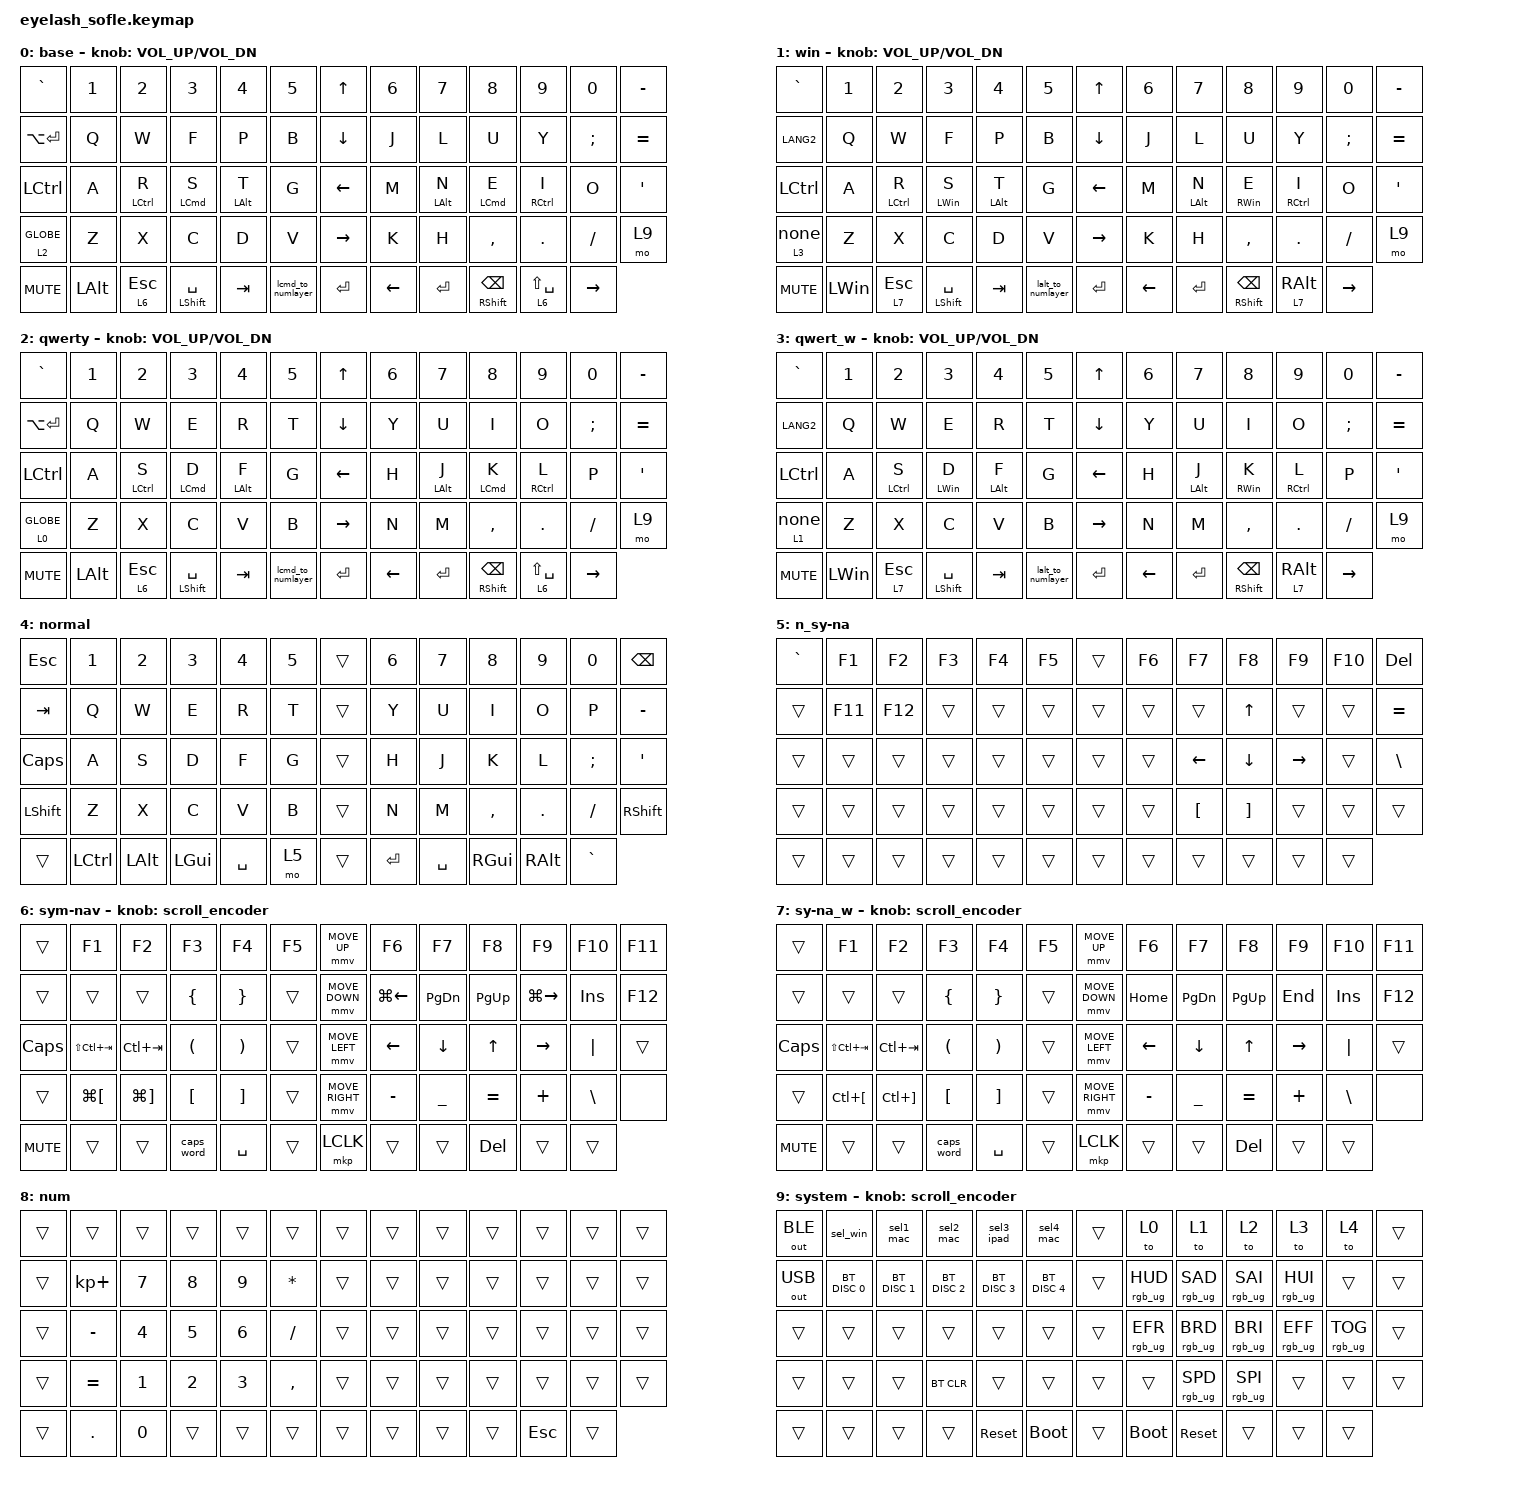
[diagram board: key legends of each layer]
#define ZMK_POINTING_DEFAULT_MOVE_VAL 1200  // 600
#define ZMK_POINTING_DEFAULT_SCRL_VAL 25   // 10

#include <input/processors.dtsi>
#include <zephyr/dt-bindings/input/input-event-codes.h>
#include <behaviors.dtsi>
#include <dt-bindings/zmk/bt.h>
#include <dt-bindings/zmk/keys.h>
#include <dt-bindings/zmk/outputs.h>
#include <dt-bindings/zmk/pointing.h>
#include <dt-bindings/zmk/rgb.h>

&mmv_input_listener { input-processors = <&zip_xy_scaler 2 1>; };

&msc_input_listener { input-processors = <&zip_scroll_scaler 2 1>; };

&msc {
    acceleration-exponent = <1>;      // 0
    time-to-max-speed-ms = <100>;       // 300
    delay-ms = <0>;                   // 0
};

&mmv {
    time-to-max-speed-ms = <500>;
    acceleration-exponent = <1>;
    trigger-period-ms = <16>;
};

&soft_off { hold-time-ms = <2000>; };

&lt {
    flavor = "balanced";
    tapping-term-ms = <180>;
};

&caps_word { continue-list = <UNDERSCORE BACKSPACE DELETE LEFT RIGHT>; };

/ {
    scroll_encoder: scroll_encoder {
        compatible = "zmk,behavior-sensor-rotate";
        #sensor-binding-cells = <0>;
        bindings = <&msc SCRL_DOWN>, <&msc SCRL_UP>;

        tap-ms = <100>;
    };

    hrml: home-row-mods-left {
        compatible = "zmk,behavior-hold-tap";
        label = "Home Row Mods Left";
        bindings = <&kp>, <&kp>;

        #binding-cells = <2>;
        tapping-term-ms = <250>;
        quick-tap-ms = <175>;
        require-prior-idle-ms = <130>;
        flavor = "balanced";
        hold-trigger-key-positions = <59 60 61 62 63 51 50 49 48 47 46 33 20 7 8 21 34 35 22 9 10 23 36 37 24 11 12 25 38>;
        hold-trigger-on-release;
    };

    hrmr: home-row-mods-right {
        compatible = "zmk,behavior-hold-tap";
        label = "Home Row Mods Right";
        bindings = <&kp>, <&kp>;

        #binding-cells = <2>;
        tapping-term-ms = <250>;
        quick-tap-ms = <175>;
        require-prior-idle-ms = <130>;
        flavor = "balanced";
        hold-trigger-on-release;
        hold-trigger-key-positions = <57 56 55 54 53 39 40 41 42 43 44 0 1 2 3 4 5 13 14 15 16 17 18 26 27 28 29 30 31>;
    };

    lshft_mt: lshft_mt {
        compatible = "zmk,behavior-hold-tap";
        label = "LSHFT_MT";
        bindings = <&kp>, <&kp>;

        #binding-cells = <2>;
        tapping-term-ms = <165>;
        flavor = "balanced";
        hold-trigger-key-positions = <59 60 61 62 63 46 47 48 51 50 49 35 37 36 34 33 20 21 22 23 24 11 10 9 8 7 38 25 12>;
    };

    rshft_mt: rshft_mt {
        compatible = "zmk,behavior-hold-tap";
        label = "RSHFT_MT";
        bindings = <&kp>, <&kp>;

        #binding-cells = <2>;
        tapping-term-ms = <165>;
        quick-tap-ms = <165>;
        flavor = "hold-preferred";
        hold-trigger-key-positions = <55 56 57 54 53 39 41 42 26 29 31 44 43 30 27 28 40 13 0 2 4 5 18 17 3 16 15 14 1>;
    };

    lcmd_to_numlayer: lcmd_to_numlayer {
        compatible = "zmk,behavior-mod-morph";
        label = "LCMD_TO_NUMLAYER";
        bindings = <&sk LCMD>, <&tog 8>;

        #binding-cells = <0>;
        mods = <(MOD_LGUI)>;
    };

    lalt_to_numlayer: lalt_to_numlayer {
        compatible = "zmk,behavior-mod-morph";
        label = "LALT_TO_NUMLAYER";
        bindings = <&sk LALT>, <&tog 8>;

        #binding-cells = <0>;
        mods = <(MOD_LALT)>;
    };

    tolayer_tap: tolayer_tap {
        compatible = "zmk,behavior-hold-tap";
        label = "TOLAYER_TAP";
        bindings = <&to>, <&kp>;

        #binding-cells = <2>;
        tapping-term-ms = <200>;
        flavor = "balanced";
    };

    tolayer_on_hold: tolayer_on_hold {
        compatible = "zmk,behavior-hold-tap";
        label = "TOLAYER_ON_HOLD";
        bindings = <&to>, <&none>;

        #binding-cells = <2>;
        tapping-term-ms = <200>;
        flavor = "balanced";
    };

    behaviors {
    };

    combos {
        compatible = "zmk,combos";

        cut {
            bindings = <&kp LG(X)>;
            key-positions = <41 42>;
            layers = <0 2>;
            require-prior-idle-ms = <130>;
            timeout-ms = <40>;
        };

        copy {
            bindings = <&kp LG(C)>;
            key-positions = <42 43>;
            layers = <0 2>;
            require-prior-idle-ms = <130>;
            timeout-ms = <40>;
        };

        paste {
            bindings = <&kp LG(V)>;
            key-positions = <43 44>;
            layers = <0 2>;
            require-prior-idle-ms = <130>;
            timeout-ms = <40>;
        };

        save {
            bindings = <&kp LG(S)>;
            key-positions = <28 29 30>;
            layers = <0 2>;
            require-prior-idle-ms = <130>;
            timeout-ms = <40>;
        };

        find {
            bindings = <&kp LG(F)>;
            key-positions = <16 17>;
            layers = <0 2>;
            require-prior-idle-ms = <130>;
            timeout-ms = <40>;
        };

        cut_win {
            bindings = <&kp LC(X)>;
            key-positions = <41 42>;
            layers = <1 3>;
            require-prior-idle-ms = <130>;
            timeout-ms = <40>;
        };

        copy_win {
            bindings = <&kp LC(C)>;
            key-positions = <42 43>;
            layers = <1 3>;
            require-prior-idle-ms = <130>;
            timeout-ms = <40>;
        };

        paste_win {
            bindings = <&kp LC(V)>;
            key-positions = <43 44>;
            layers = <1 3>;
            require-prior-idle-ms = <130>;
            timeout-ms = <40>;
        };

        soft_off {
            bindings = <&soft_off>;
            key-positions = <39 57>;
            layers = <0 2 1 3 4>;
        };
    };

    macros {
        sel_win: sel_win {
            compatible = "zmk,behavior-macro";
            #binding-cells = <0>;
            bindings =
                <&macro_tap_time 250>,
                <&bt BT_SEL 0 &bt BT_DISC 3 &to 1>;

            label = "SEL_WIN";
        };

        sel1_mac: sel1_mac {
            compatible = "zmk,behavior-macro";
            #binding-cells = <0>;
            bindings =
                <&macro_tap_time 250>,
                <&bt BT_SEL 1 &bt BT_DISC 3 &to 0>;

            label = "SEL1_MAC";
        };

        sel2_mac: sel2_mac {
            compatible = "zmk,behavior-macro";
            #binding-cells = <0>;
            bindings =
                <&macro_tap_time 250>,
                <&bt BT_SEL 2 &bt BT_DISC 3 &to 0>;

            label = "SEL2_MAC";
        };

        sel3_ipad: sel3_ipad {
            compatible = "zmk,behavior-macro";
            #binding-cells = <0>;
            bindings = <&macro_tap_time 250>, <&bt BT_SEL 3 &to 0>;

            label = "SEL3_IPAD";
        };

        sel4_mac: sel4_mac {
            compatible = "zmk,behavior-macro";
            #binding-cells = <0>;
            bindings =
                <&macro_tap_time 250>,
                <&bt BT_SEL 4 &bt BT_DISC 3 &to 0>;

            label = "SEL4_MAC";
        };
    };

    keymap {
        compatible = "zmk,keymap";

        base {
            display-name = "base";
            bindings = <
&kp GRAVE             &kp N1    &kp N2         &kp N3                 &kp N4        &kp N5               &kp UP_ARROW     &kp N6    &kp N7        &kp N8                &kp N9           &kp N0     &kp MINUS
&kp LA(ENTER)         &kp Q     &kp W          &kp F                  &kp P         &kp B                &kp DOWN_ARROW   &kp J     &kp L         &kp U                 &kp Y            &kp SEMI   &kp EQUAL
&kp LCTRL             &kp A     &hrml LCTRL R  &hrml LCMD S           &hrml LALT T  &kp G                &kp LEFT_ARROW   &kp M     &hrmr LALT N  &hrmr LCMD E          &hrmr RCTRL I    &kp O      &kp APOS
&tolayer_tap 2 GLOBE  &kp Z     &kp X          &kp C                  &kp D         &kp V                &kp RIGHT_ARROW  &kp K     &kp H         &kp COMMA             &kp DOT          &kp FSLH   &mo 9
&kp C_MUTE            &kp LALT  &lt 6 ESC      &lshft_mt LSHFT SPACE  &kp TAB       &lcmd_to_numlayer    &kp ENTER        &kp LEFT  &kp ENTER     &rshft_mt RSHFT BSPC  &lt 6 LS(SPACE)  &kp RIGHT
            >;

            sensor-bindings = <&inc_dec_kp C_VOLUME_UP C_VOL_DN>;
        };

        win {
            display-name = "win";
            bindings = <
&kp GRAVE             &kp N1    &kp N2         &kp N3                 &kp N4        &kp N5               &kp UP_ARROW     &kp N6    &kp N7        &kp N8                &kp N9         &kp N0     &kp MINUS
&kp LANG2             &kp Q     &kp W          &kp F                  &kp P         &kp B                &kp DOWN_ARROW   &kp J     &kp L         &kp U                 &kp Y          &kp SEMI   &kp EQUAL
&kp LCTRL             &kp A     &hrml LCTRL R  &hrml LWIN S           &hrml LALT T  &kp G                &kp LEFT_ARROW   &kp M     &hrmr LALT N  &hrmr RWIN E          &hrmr RCTRL I  &kp O      &kp APOS
&tolayer_on_hold 3 0  &kp Z     &kp X          &kp C                  &kp D         &kp V                &kp RIGHT_ARROW  &kp K     &kp H         &kp COMMA             &kp DOT        &kp FSLH   &mo 9
&kp C_MUTE            &kp LWIN  &lt 7 ESC      &lshft_mt LSHFT SPACE  &kp TAB       &lalt_to_numlayer    &kp ENTER        &kp LEFT  &kp ENTER     &rshft_mt RSHFT BSPC  &lt 7 RALT     &kp RIGHT
            >;

            sensor-bindings = <&inc_dec_kp C_VOLUME_UP C_VOL_DN>;
        };

        qwerty {
            display-name = "qwerty";
            bindings = <
&kp GRAVE             &kp N1    &kp N2         &kp N3                 &kp N4        &kp N5               &kp UP_ARROW     &kp N6    &kp N7        &kp N8                &kp N9           &kp N0     &kp MINUS
&kp LA(ENTER)         &kp Q     &kp W          &kp E                  &kp R         &kp T                &kp DOWN_ARROW   &kp Y     &kp U         &kp I                 &kp O            &kp SEMI   &kp EQUAL
&kp LCTRL             &kp A     &hrml LCTRL S  &hrml LCMD D           &hrml LALT F  &kp G                &kp LEFT_ARROW   &kp H     &hrmr LALT J  &hrmr LCMD K          &hrmr RCTRL L    &kp P      &kp APOS
&tolayer_tap 0 GLOBE  &kp Z     &kp X          &kp C                  &kp V         &kp B                &kp RIGHT_ARROW  &kp N     &kp M         &kp COMMA             &kp DOT          &kp FSLH   &mo 9
&kp C_MUTE            &kp LALT  &lt 6 ESC      &lshft_mt LSHFT SPACE  &kp TAB       &lcmd_to_numlayer    &kp ENTER        &kp LEFT  &kp ENTER     &rshft_mt RSHFT BSPC  &lt 6 LS(SPACE)  &kp RIGHT
            >;

            sensor-bindings = <&inc_dec_kp C_VOLUME_UP C_VOL_DN>;
        };

        qwerty_win {
            display-name = "qwert_w";
            bindings = <
&kp GRAVE             &kp N1    &kp N2         &kp N3                 &kp N4        &kp N5               &kp UP_ARROW     &kp N6    &kp N7        &kp N8                &kp N9         &kp N0     &kp MINUS
&kp LANG2             &kp Q     &kp W          &kp E                  &kp R         &kp T                &kp DOWN_ARROW   &kp Y     &kp U         &kp I                 &kp O          &kp SEMI   &kp EQUAL
&kp LCTRL             &kp A     &hrml LCTRL S  &hrml LWIN D           &hrml LALT F  &kp G                &kp LEFT_ARROW   &kp H     &hrmr LALT J  &hrmr RWIN K          &hrmr RCTRL L  &kp P      &kp APOS
&tolayer_on_hold 1 0  &kp Z     &kp X          &kp C                  &kp V         &kp B                &kp RIGHT_ARROW  &kp N     &kp M         &kp COMMA             &kp DOT        &kp FSLH   &mo 9
&kp C_MUTE            &kp LWIN  &lt 7 ESC      &lshft_mt LSHFT SPACE  &kp TAB       &lalt_to_numlayer    &kp ENTER        &kp LEFT  &kp ENTER     &rshft_mt RSHFT BSPC  &lt 7 RALT     &kp RIGHT
            >;

            sensor-bindings = <&inc_dec_kp C_VOLUME_UP C_VOL_DN>;
        };

        normal {
            display-name = "normal";
            bindings = <
&kp ESC    &kp N1     &kp N2    &kp N3    &kp N4     &kp N5    &trans  &kp N6     &kp N7     &kp N8     &kp N9    &kp N0     &kp BSPC
&kp TAB    &kp Q      &kp W     &kp E     &kp R      &kp T     &trans  &kp Y      &kp U      &kp I      &kp O     &kp P      &kp MINUS
&kp CAPS   &kp A      &kp S     &kp D     &kp F      &kp G     &trans  &kp H      &kp J      &kp K      &kp L     &kp SEMI   &kp APOS
&kp LSHFT  &kp Z      &kp X     &kp C     &kp V      &kp B     &trans  &kp N      &kp M      &kp COMMA  &kp DOT   &kp FSLH   &kp RSHFT
&trans     &kp LCTRL  &kp LALT  &kp LGUI  &kp SPACE  &mo 5     &trans  &kp ENTER  &kp SPACE  &kp RGUI   &kp RALT  &kp GRAVE
            >;
        };

        normal_sym-nav {
            display-name = "n_sy-na";
            bindings = <
&kp GRAVE  &kp F1   &kp F2   &kp F3  &kp F4  &kp F5    &trans  &kp F6  &kp F7            &kp F8             &kp F9     &kp F10  &kp DEL
&trans     &kp F11  &kp F12  &trans  &trans  &trans    &trans  &trans  &trans            &kp UP             &trans     &trans   &kp EQUAL
&trans     &trans   &trans   &trans  &trans  &trans    &trans  &trans  &kp LEFT          &kp DOWN           &kp RIGHT  &trans   &kp BSLH
&trans     &trans   &trans   &trans  &trans  &trans    &trans  &trans  &kp LEFT_BRACKET  &kp RIGHT_BRACKET  &trans     &trans   &trans
&trans     &trans   &trans   &trans  &trans  &trans    &trans  &trans  &trans            &trans             &trans     &trans
            >;
        };

        sym-nav {
            display-name = "sym-nav";
            bindings = <
&trans      &kp F1           &kp F2        &kp F3      &kp F4     &kp F5    &mmv MOVE_UP     &kp F6        &kp F7     &kp F8     &kp F9         &kp F10   &kp F11
&trans      &trans           &trans        &kp LBRC    &kp RBRC   &trans    &mmv MOVE_DOWN   &kp LG(LEFT)  &kp PG_DN  &kp PG_UP  &kp LG(RIGHT)  &kp INS   &kp F12
&kp CAPS    &kp LS(LC(TAB))  &kp LC(TAB)   &kp LPAR    &kp RPAR   &trans    &mmv MOVE_LEFT   &kp LEFT      &kp DOWN   &kp UP     &kp RIGHT      &kp PIPE  &trans
&trans      &kp LG(LBKT)     &kp LG(RBKT)  &kp LBKT    &kp RBKT   &trans    &mmv MOVE_RIGHT  &kp MINUS     &kp UNDER  &kp EQUAL  &kp PLUS       &kp BSLH  &none
&kp C_MUTE  &trans           &trans        &caps_word  &kp SPACE  &trans    &mkp LCLK        &trans        &trans     &kp DEL    &trans         &trans
            >;

            sensor-bindings = <&scroll_encoder>;
        };

        sym-nav_win {
            display-name = "sy-na_w";
            bindings = <
&trans      &kp F1           &kp F2        &kp F3      &kp F4     &kp F5    &mmv MOVE_UP     &kp F6     &kp F7     &kp F8     &kp F9     &kp F10   &kp F11
&trans      &trans           &trans        &kp LBRC    &kp RBRC   &trans    &mmv MOVE_DOWN   &kp HOME   &kp PG_DN  &kp PG_UP  &kp END    &kp INS   &kp F12
&kp CAPS    &kp LS(LC(TAB))  &kp LC(TAB)   &kp LPAR    &kp RPAR   &trans    &mmv MOVE_LEFT   &kp LEFT   &kp DOWN   &kp UP     &kp RIGHT  &kp PIPE  &trans
&trans      &kp LC(LBKT)     &kp LC(RBKT)  &kp LBKT    &kp RBKT   &trans    &mmv MOVE_RIGHT  &kp MINUS  &kp UNDER  &kp EQUAL  &kp PLUS   &kp BSLH  &none
&kp C_MUTE  &trans           &trans        &caps_word  &kp SPACE  &trans    &mkp LCLK        &trans     &trans     &kp DEL    &trans     &trans
            >;

            sensor-bindings = <&scroll_encoder>;
        };

        num {
            display-name = "num";
            bindings = <
&trans  &trans       &trans  &trans  &trans  &trans       &trans  &trans  &trans  &trans  &trans   &trans  &trans
&trans  &kp KP_PLUS  &kp N7  &kp N8  &kp N9  &kp ASTRK    &trans  &trans  &trans  &trans  &trans   &trans  &trans
&trans  &kp MINUS    &kp N4  &kp N5  &kp N6  &kp SLASH    &trans  &trans  &trans  &trans  &trans   &trans  &trans
&trans  &kp EQUAL    &kp N1  &kp N2  &kp N3  &kp COMMA    &trans  &trans  &trans  &trans  &trans   &trans  &trans
&trans  &kp DOT      &kp N0  &trans  &trans  &trans       &trans  &trans  &trans  &trans  &kp ESC  &trans
            >;
        };

        system {
            display-name = "system";
            bindings = <
&out OUT_BLE  &sel_win       &sel1_mac      &sel2_mac      &sel3_ipad     &sel4_mac        &trans  &to 0            &to 1            &to 2            &to 3            &to 4            &trans
&out OUT_USB  &bt BT_DISC 0  &bt BT_DISC 1  &bt BT_DISC 2  &bt BT_DISC 3  &bt BT_DISC 4    &trans  &rgb_ug RGB_HUD  &rgb_ug RGB_SAD  &rgb_ug RGB_SAI  &rgb_ug RGB_HUI  &trans           &trans
&trans        &trans         &trans         &trans         &trans         &trans           &trans  &rgb_ug RGB_EFR  &rgb_ug RGB_BRD  &rgb_ug RGB_BRI  &rgb_ug RGB_EFF  &rgb_ug RGB_TOG  &trans
&trans        &trans         &trans         &bt BT_CLR     &trans         &trans           &trans  &trans           &rgb_ug RGB_SPD  &rgb_ug RGB_SPI  &trans           &trans           &trans
&trans        &trans         &trans         &trans         &sys_reset     &bootloader      &trans  &bootloader      &sys_reset       &trans           &trans           &trans
            >;

            sensor-bindings = <&scroll_encoder>;
        };
    };
};
